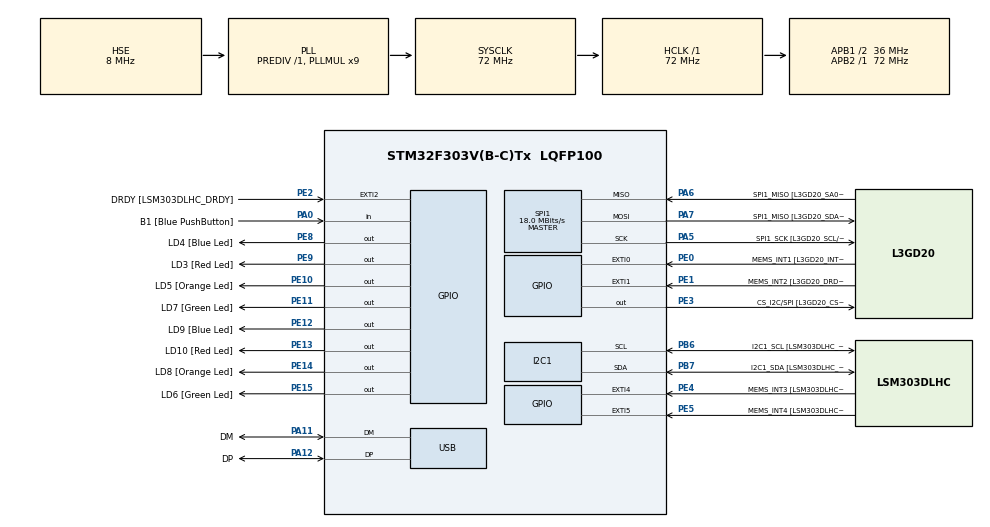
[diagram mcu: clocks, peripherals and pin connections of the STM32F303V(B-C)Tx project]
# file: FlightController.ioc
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I2C1.Timing-I2C=0x2000090E
Mcu.Family=STM32F3
Mcu.Name=STM32F303V(B-C)Tx
Mcu.Package=LQFP100
NVIC.PriorityGroup=NVIC_PRIORITYGROUP_0
NVIC.USB_LP_CAN_RX0_IRQn=true\:0\:0\:false\:false\:true\:false
PA0.GPIO_Label=B1 [Blue PushButton]
PA0.Signal=GPIO_Input
PA11.GPIO_Label=DM
PA11.Mode=Device
PA11.Signal=USB_DM
PA12.GPIO_Label=DP
PA12.Mode=Device
PA12.Signal=USB_DP
PA13.GPIO_Label=SWDIO
PA13.Mode=Serial_Wire
PA13.Signal=SYS_JTMS-SWDIO
PA14.GPIO_Label=SWCLK
PA14.Mode=Serial_Wire
PA14.Signal=SYS_JTCK-SWCLK
PA5.GPIO_Label=SPI1_SCK [L3GD20_SCL/SPC]
PA5.Mode=Full_Duplex_Master
PA5.Signal=SPI1_SCK
PA6.GPIO_Label=SPI1_MISO [L3GD20_SA0/SDO]
PA6.Mode=Full_Duplex_Master
PA6.Signal=SPI1_MISO
PA7.GPIO_Label=SPI1_MISO [L3GD20_SDA/SDI/SDO]
PA7.Mode=Full_Duplex_Master
PA7.Signal=SPI1_MOSI
PB3.GPIO_Label=SWO
PB3.Signal=SYS_JTDO-TRACESWO
PB6.GPIO_Label=I2C1_SCL [LSM303DLHC_SCL]
PB6.Mode=I2C
PB6.Signal=I2C1_SCL
PB7.GPIO_Label=I2C1_SDA [LSM303DLHC_SDA]
PB7.Mode=I2C
PB7.Signal=I2C1_SDA
PC14-OSC32_IN.GPIO_Label=OSC32_IN
PC14-OSC32_IN.Signal=RCC_OSC32_IN
PC15-OSC32_OUT.GPIO_Label=OSC32_OUT
PC15-OSC32_OUT.Signal=RCC_OSC32_OUT
PE0.GPIO_Label=MEMS_INT1 [L3GD20_INT1]
PE0.GPIO_ModeDefaultEXTI=GPIO_MODE_EVT_RISING
PE0.Signal=GPXTI0
PE1.GPIO_Label=MEMS_INT2 [L3GD20_DRDY/INT2]
PE1.GPIO_ModeDefaultEXTI=GPIO_MODE_EVT_RISING
PE1.Signal=GPXTI1
PE10.GPIO_Label=LD5 [Orange Led]
PE10.Signal=GPIO_Output
PE11.GPIO_Label=LD7 [Green Led]
PE11.Signal=GPIO_Output
PE12.GPIO_Label=LD9 [Blue Led]
PE12.Signal=GPIO_Output
PE13.GPIO_Label=LD10 [Red Led]
PE13.Signal=GPIO_Output
PE14.GPIO_Label=LD8 [Orange Led]
PE14.Signal=GPIO_Output
PE15.GPIO_Label=LD6 [Green Led]
PE15.Signal=GPIO_Output
PE2.GPIO_Label=DRDY [LSM303DLHC_DRDY]
PE2.GPIO_ModeDefaultEXTI=GPIO_MODE_EVT_RISING
PE2.Signal=GPXTI2
PE3.GPIO_Label=CS_I2C/SPI [L3GD20_CS_I2C/SPI]
PE3.Signal=GPIO_Output
PE4.GPIO_Label=MEMS_INT3 [LSM303DLHC_INT1]
PE4.GPIO_ModeDefaultEXTI=GPIO_MODE_EVT_RISING
PE4.Signal=GPXTI4
PE5.GPIO_Label=MEMS_INT4 [LSM303DLHC_INT2]
PE5.GPIO_ModeDefaultEXTI=GPIO_MODE_EVT_RISING
PE5.Signal=GPXTI5
PE8.GPIO_Label=LD4 [Blue Led]
PE8.Signal=GPIO_Output
PE9.GPIO_Label=LD3 [Red Led]
PE9.Signal=GPIO_Output
PF0-OSC_IN.GPIO_Label=OSC_IN
PF0-OSC_IN.Mode=HSE-External-Clock-Source
PF0-OSC_IN.Signal=RCC_OSC_IN
PF1-OSC_OUT.GPIO_Label=OSC_OUT
PF1-OSC_OUT.Signal=RCC_OSC_OUT
ProjectManager.HeapSize=0x200
ProjectManager.StackSize=0x400
ProjectManager.TargetToolchain=Other Toolchains (GPDSC)
RCC.AHBFreq_Value=72000000
RCC.APB1CLKDivider=RCC_HCLK_DIV2
RCC.APB1Freq_Value=36000000
RCC.APB1TimFreq_Value=72000000
RCC.APB2Freq_Value=72000000
RCC.APB2TimFreq_Value=72000000
RCC.CortexFreq_Value=72000000
RCC.HCLKFreq_Value=72000000
RCC.HSE_VALUE=8000000
RCC.HSI_VALUE=8000000
RCC.LSE_VALUE=32768
RCC.PLLMUL=RCC_PLL_MUL9
RCC.PRESCALERUSB=RCC_USBCLKSOURCE_PLL_DIV1_5
RCC.SYSCLKFreq_VALUE=72000000
RCC.SYSCLKSourceVirtual=RCC_SYSCLKSOURCE_PLLCLK
RCC.USBFreq_Value=48000000
SPI1.BaudRatePrescaler=SPI_BAUDRATEPRESCALER_4
SPI1.BaudRatePrescaler-Full_Duplex_Master=SPI_BAUDRATEPRESCALER_2
SPI1.CalculateBaudRate=18.0 MBits/s
SPI1.CalculateBaudRate-Full_Duplex_Master=24.0 MBits/s
SPI1.Direction=SPI_DIRECTION_2LINES
SPI1.Mode=SPI_MODE_MASTER
SPI1.Mode-Full_Duplex_Master=SPI_MODE_MASTER
SPI1.VirtualType=VM_MASTER
USB_DEVICE.CLASS_NAME_FS=CDC
USB_DEVICE.VirtualMode=Cdc
USB_DEVICE.VirtualModeFS=Cdc_FS
VP_USB_DEVICE_VS_USB_DEVICE_CDC_FS.Mode=CDC_FS
board=STM32F3DISCOVERY

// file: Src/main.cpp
/**
  ******************************************************************************
  * @file           : main.c
  * @brief          : Main program body
  ******************************************************************************
  * This notice applies to any and all portions of this file
  * that are not between comment pairs USER CODE BEGIN and
  * USER CODE END. Other portions of this file, whether
  * inserted by the user or by software development tools
  * are owned by their respective copyright owners.
  *
  * Copyright (c) 2018 STMicroelectronics International N.V.
  * All rights reserved.
  *
  * Redistribution and use in source and binary forms, with or without
  * modification, are permitted, provided that the following conditions are met:
  *
  * 1. Redistribution of source code must retain the above copyright notice,
  *    this list of conditions and the following disclaimer.
  * 2. Redistributions in binary form must reproduce the above copyright notice,
  *    this list of conditions and the following disclaimer in the documentation
  *    and/or other materials provided with the distribution.
  * 3. Neither the name of STMicroelectronics nor the names of other
  *    contributors to this software may be used to endorse or promote products
  *    derived from this software without specific written permission.
  * 4. This software, including modifications and/or derivative works of this
  *    software, must execute solely and exclusively on microcontroller or
  *    microprocessor devices manufactured by or for STMicroelectronics.
  * 5. Redistribution and use of this software other than as permitted under
  *    this license is void and will automatically terminate your rights under
  *    this license.
  *
  * THIS SOFTWARE IS PROVIDED BY STMICROELECTRONICS AND CONTRIBUTORS "AS IS"
  * AND ANY EXPRESS, IMPLIED OR STATUTORY WARRANTIES, INCLUDING, BUT NOT
  * LIMITED TO, THE IMPLIED WARRANTIES OF MERCHANTABILITY, FITNESS FOR A
  * PARTICULAR PURPOSE AND NON-INFRINGEMENT OF THIRD PARTY INTELLECTUAL PROPERTY
  * RIGHTS ARE DISCLAIMED TO THE FULLEST EXTENT PERMITTED BY LAW. IN NO EVENT
  * SHALL STMICROELECTRONICS OR CONTRIBUTORS BE LIABLE FOR ANY DIRECT, INDIRECT,
  * INCIDENTAL, SPECIAL, EXEMPLARY, OR CONSEQUENTIAL DAMAGES (INCLUDING, BUT NOT
  * LIMITED TO, PROCUREMENT OF SUBSTITUTE GOODS OR SERVICES; LOSS OF USE, DATA,
  * OR PROFITS; OR BUSINESS INTERRUPTION) HOWEVER CAUSED AND ON ANY THEORY OF
  * LIABILITY, WHETHER IN CONTRACT, STRICT LIABILITY, OR TORT (INCLUDING
  * NEGLIGENCE OR OTHERWISE) ARISING IN ANY WAY OUT OF THE USE OF THIS SOFTWARE,
  * EVEN IF ADVISED OF THE POSSIBILITY OF SUCH DAMAGE.
  *
  ******************************************************************************
  */
#include "main.h"
#include "stm32f3xx_hal.h"
#include "usb_device.h"

/* USER CODE BEGIN Includes */
#include "usbd_cdc_if.h"
#include "imu.h"

#define CLOCK_MHZ 72
/* USER CODE END Includes */

I2C_HandleTypeDef hi2c1;

SPI_HandleTypeDef hspi1;

volatile uint32_t millis = 0;
/* USER CODE BEGIN PV */
/* Private variables ---------------------------------------------------------*/
char RxBuffer[256];
uint32_t micros = 0, lastMicros = 0;
float deltaMillis = 0.0f, deltaSeconds = 0.0f, deltaBlink = 0.0f, deltaTx = 0.0f;
/* USER CODE END PV */

void SystemClock_Config(void);
static void MX_GPIO_Init(void);
static void MX_I2C1_Init(void);
static void MX_SPI1_Init(void);

/* USER CODE BEGIN PFP */
/* Private function prototypes -----------------------------------------------*/

/* USER CODE END PFP */

int main(void)
{

  /* MCU Configuration----------------------------------------------------------*/

  /* Reset of all peripherals, Initializes the Flash interface and the Systick. */
  HAL_Init();

  /* USER CODE BEGIN Init */
  float imuData[AXIS_COUNT] = {0.0f};
  Imu imu;

  /* USER CODE END Init */

  /* Configure the system clock */
  SystemClock_Config();

  /* Initialize all configured peripherals */
  MX_GPIO_Init();
  MX_I2C1_Init();
  MX_SPI1_Init();
  MX_USB_DEVICE_Init();
  /* USER CODE BEGIN 2 */

  BSP_LED_Init(LED4);

  /* USER CODE END 2 */

  /* Infinite loop */
  /* USER CODE BEGIN WHILE */
  while (1) {
    // Ensure that the Unit is level.
    // In case the loop is happening sub millisecond (which it is) let's increase
    // precision to microsecond scale.
    // micros = millis*1000+(SystemCoreClock/1000-SysTick->VAL)/SystemCoreClockInMHz;
    // ^^^ essentially Since Systick is a 24 bit counter counting down, we are adding the difference us
    //     to the number of micros that have passed since the milliSecond interrupt
    millis = HAL_GetTick();
    micros = millis * 1000 + 1000 - SysTick->VAL/CLOCK_MHZ;
    deltaMillis = (micros - lastMicros) / 1000.0f;
    deltaSeconds = deltaMillis / 1000.0f;
    lastMicros = micros;

    deltaTx += deltaMillis;
    deltaBlink += deltaMillis;

    // Get IMU data
    imu.GetFilteredAngles(deltaSeconds, imuData);

      sprintf(
        RxBuffer,
        "Pitch = %7ld\r\nRoll = %7ld\r\ndYaw = %7ld\r\n\r\n",
        (int32_t)(imuData[0] * 1000.0f),
        (int32_t)(imuData[1] * 1000.0f),
        (int32_t)(imuData[2] * 1000.0f)
      );

      CDC_Transmit_FS((uint8_t *) RxBuffer, strlen(RxBuffer));
      deltaTx = 0.0f;

    if (deltaBlink > 125.0f){
      BSP_LED_Toggle(LED4);
      deltaBlink = 0.0f;
    }
    HAL_Delay(10);
  /* USER CODE END WHILE */

  }

}

void SystemClock_Config(void)
{

  RCC_OscInitTypeDef RCC_OscInitStruct;
  RCC_ClkInitTypeDef RCC_ClkInitStruct;
  RCC_PeriphCLKInitTypeDef PeriphClkInit;

    /**Initializes the CPU, AHB and APB busses clocks
    */
  RCC_OscInitStruct.OscillatorType = RCC_OSCILLATORTYPE_HSI|RCC_OSCILLATORTYPE_HSE;
  RCC_OscInitStruct.HSEState = RCC_HSE_BYPASS;
  RCC_OscInitStruct.HSEPredivValue = RCC_HSE_PREDIV_DIV1;
  RCC_OscInitStruct.HSIState = RCC_HSI_ON;
  RCC_OscInitStruct.HSICalibrationValue = 16;
  RCC_OscInitStruct.PLL.PLLState = RCC_PLL_ON;
  RCC_OscInitStruct.PLL.PLLSource = RCC_PLLSOURCE_HSE;
  RCC_OscInitStruct.PLL.PLLMUL = RCC_PLL_MUL9;
  if (HAL_RCC_OscConfig(&RCC_OscInitStruct) != HAL_OK)
  {
    _Error_Handler((char *)__FILE__, __LINE__);
  }

    /**Initializes the CPU, AHB and APB busses clocks
    */
  RCC_ClkInitStruct.ClockType = RCC_CLOCKTYPE_HCLK|RCC_CLOCKTYPE_SYSCLK
                              |RCC_CLOCKTYPE_PCLK1|RCC_CLOCKTYPE_PCLK2;
  RCC_ClkInitStruct.SYSCLKSource = RCC_SYSCLKSOURCE_PLLCLK;
  RCC_ClkInitStruct.AHBCLKDivider = RCC_SYSCLK_DIV1;
  RCC_ClkInitStruct.APB1CLKDivider = RCC_HCLK_DIV2;
  RCC_ClkInitStruct.APB2CLKDivider = RCC_HCLK_DIV1;

  if (HAL_RCC_ClockConfig(&RCC_ClkInitStruct, FLASH_LATENCY_2) != HAL_OK)
  {
    _Error_Handler((char *)__FILE__, __LINE__);
  }

  PeriphClkInit.PeriphClockSelection = RCC_PERIPHCLK_USB|RCC_PERIPHCLK_I2C1;
  PeriphClkInit.I2c1ClockSelection = RCC_I2C1CLKSOURCE_HSI;
  PeriphClkInit.USBClockSelection = RCC_USBCLKSOURCE_PLL_DIV1_5;
  if (HAL_RCCEx_PeriphCLKConfig(&PeriphClkInit) != HAL_OK)
  {
    _Error_Handler((char *)__FILE__, __LINE__);
  }

    /**Configure the Systick interrupt time
    */
  HAL_SYSTICK_Config(HAL_RCC_GetHCLKFreq()/1000);

    /**Configure the Systick
    */
  HAL_SYSTICK_CLKSourceConfig(SYSTICK_CLKSOURCE_HCLK);

  /* SysTick_IRQn interrupt configuration */
  HAL_NVIC_SetPriority(SysTick_IRQn, 0, 0);
}

/* I2C1 init function */
static void MX_I2C1_Init(void)
{

  hi2c1.Instance = I2C1;
  hi2c1.Init.Timing = 0x2000090E;
  hi2c1.Init.OwnAddress1 = 0;
  hi2c1.Init.AddressingMode = I2C_ADDRESSINGMODE_7BIT;
  hi2c1.Init.DualAddressMode = I2C_DUALADDRESS_DISABLE;
  hi2c1.Init.OwnAddress2 = 0;
  hi2c1.Init.OwnAddress2Masks = I2C_OA2_NOMASK;
  hi2c1.Init.GeneralCallMode = I2C_GENERALCALL_DISABLE;
  hi2c1.Init.NoStretchMode = I2C_NOSTRETCH_DISABLE;
  if (HAL_I2C_Init(&hi2c1) != HAL_OK)
  {
    _Error_Handler((char *)__FILE__, __LINE__);
  }

    /**Configure Analogue filter
    */
  if (HAL_I2CEx_ConfigAnalogFilter(&hi2c1, I2C_ANALOGFILTER_ENABLE) != HAL_OK)
  {
    _Error_Handler((char *)__FILE__, __LINE__);
  }

    /**Configure Digital filter
    */
  if (HAL_I2CEx_ConfigDigitalFilter(&hi2c1, 0) != HAL_OK)
  {
    _Error_Handler((char *)__FILE__, __LINE__);
  }

}

/* SPI1 init function */
static void MX_SPI1_Init(void)
{

  /* SPI1 parameter configuration*/
  hspi1.Instance = SPI1;
  hspi1.Init.Mode = SPI_MODE_MASTER;
  hspi1.Init.Direction = SPI_DIRECTION_2LINES;
  hspi1.Init.DataSize = SPI_DATASIZE_4BIT;
  hspi1.Init.CLKPolarity = SPI_POLARITY_LOW;
  hspi1.Init.CLKPhase = SPI_PHASE_1EDGE;
  hspi1.Init.NSS = SPI_NSS_SOFT;
  hspi1.Init.BaudRatePrescaler = SPI_BAUDRATEPRESCALER_4;
  hspi1.Init.FirstBit = SPI_FIRSTBIT_MSB;
  hspi1.Init.TIMode = SPI_TIMODE_DISABLE;
  hspi1.Init.CRCCalculation = SPI_CRCCALCULATION_DISABLE;
  hspi1.Init.CRCPolynomial = 7;
  hspi1.Init.CRCLength = SPI_CRC_LENGTH_DATASIZE;
  hspi1.Init.NSSPMode = SPI_NSS_PULSE_ENABLE;
  if (HAL_SPI_Init(&hspi1) != HAL_OK)
  {
    _Error_Handler((char *)__FILE__, __LINE__);
  }

}

/** Configure pins as
        * Analog
        * Input
        * Output
        * EVENT_OUT
        * EXTI
*/
static void MX_GPIO_Init(void)
{

  GPIO_InitTypeDef GPIO_InitStruct;

  /* GPIO Ports Clock Enable */
  __HAL_RCC_GPIOE_CLK_ENABLE();
  __HAL_RCC_GPIOC_CLK_ENABLE();
  __HAL_RCC_GPIOF_CLK_ENABLE();
  __HAL_RCC_GPIOA_CLK_ENABLE();
  __HAL_RCC_GPIOB_CLK_ENABLE();

  /*Configure GPIO pin Output Level */
  HAL_GPIO_WritePin(GPIOE, CS_I2C_SPI_Pin|LD4_Pin|LD3_Pin|LD5_Pin
                          |LD7_Pin|LD9_Pin|LD10_Pin|LD8_Pin
                          |LD6_Pin, GPIO_PIN_RESET);

  /*Configure GPIO pins : DRDY_Pin MEMS_INT3_Pin MEMS_INT4_Pin MEMS_INT1_Pin
                           MEMS_INT2_Pin */
  GPIO_InitStruct.Pin = DRDY_Pin|MEMS_INT3_Pin|MEMS_INT4_Pin|MEMS_INT1_Pin
                          |MEMS_INT2_Pin;
  GPIO_InitStruct.Mode = GPIO_MODE_EVT_RISING;
  GPIO_InitStruct.Pull = GPIO_NOPULL;
  HAL_GPIO_Init(GPIOE, &GPIO_InitStruct);

  /*Configure GPIO pins : CS_I2C_SPI_Pin LD4_Pin LD3_Pin LD5_Pin
                           LD7_Pin LD9_Pin LD10_Pin LD8_Pin
                           LD6_Pin */
  GPIO_InitStruct.Pin = CS_I2C_SPI_Pin|LD4_Pin|LD3_Pin|LD5_Pin
                          |LD7_Pin|LD9_Pin|LD10_Pin|LD8_Pin
                          |LD6_Pin;
  GPIO_InitStruct.Mode = GPIO_MODE_OUTPUT_PP;
  GPIO_InitStruct.Pull = GPIO_NOPULL;
  GPIO_InitStruct.Speed = GPIO_SPEED_FREQ_LOW;
  HAL_GPIO_Init(GPIOE, &GPIO_InitStruct);

  /*Configure GPIO pin : B1_Pin */
  GPIO_InitStruct.Pin = B1_Pin;
  GPIO_InitStruct.Mode = GPIO_MODE_INPUT;
  GPIO_InitStruct.Pull = GPIO_NOPULL;
  HAL_GPIO_Init(B1_GPIO_Port, &GPIO_InitStruct);

}

void _Error_Handler(char *file, int line)
{
  while(1)
  {
  }
}

/************************ (C) COPYRIGHT STMicroelectronics *****END OF FILE****/
